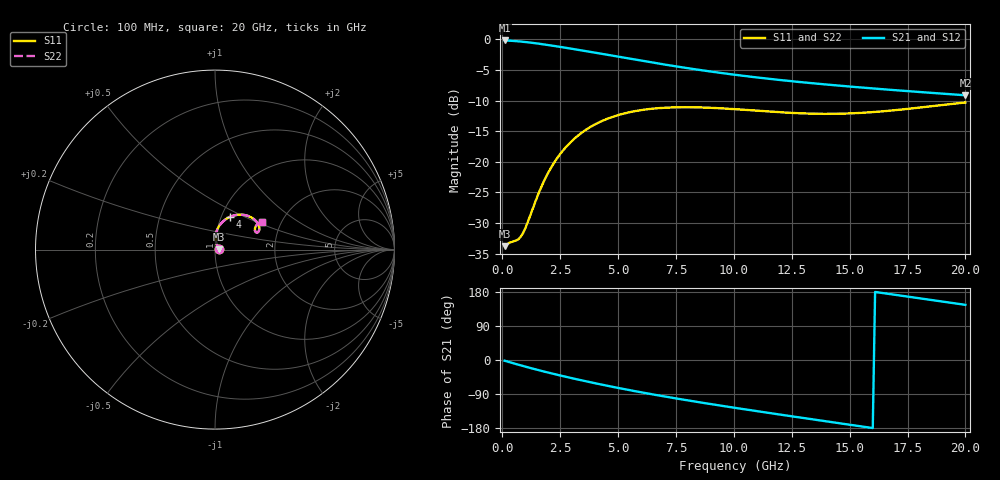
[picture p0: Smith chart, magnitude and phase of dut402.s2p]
! Touchstone file exported from HFSS 2024.1.0
!  File:  C:/UserFiles/LocalFiles/RDL_TSV_Batchsim/temp_RDL_TSV_402_1779711537.aedt
!  Generated:  08:40:23 PM May 25, 2026
!  Design:  RDL_TSV
!  Project:  temp_RDL_TSV_402_1779711537
!  Setup:  Setup1
!  Solution:  Sweep
! Variables:
!  dtsv = 13.79um
!  hbump = 3um
!  htsv = 50.74um
!  ldown = 612.19um
!  lrdl = 363.68um
!  p = 40
!  p1 = 44.45um
!  rhole = 10um
!  subl = 3291.29um
!  t = 450um
!  tdown = 2.95um
!  trdl = 3.06um
!  viad = 10um
!  wdown = 17.96um
!  wrdl = 21.14um
!  xbump = 18um
# GHz S MA R 50.000000
! Terminal data exported
! Port[1] = TM1_1_T1
! Port[2] = TM1_4_T1
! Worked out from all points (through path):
!   200 points, 100 MHz to 20 GHz, reference 50 ohm
!   highest |S21| = -0.18 dB at 100 MHz (marker M1); lowest = -9.1 dB at 20 GHz (marker M2)
!   group delay of S21, straight-line fit = 28.2 ps
!   lowest |S11| = -33.8 dB at 100 MHz (marker M3), VSWR 1.04, Z = 52.1 + j0.286 ohm
!   |S11| at or under -10 dB: start of sweep to end of sweep
!   |S22| runs from -33.8 to -10.3 dB; largest |S21 - S12| = 8.8e-14
!   S11 on the Smith chart (normalised r, x): 100 MHz: 1.04, +0.01; 4 GHz: 1.10, +0.42; 20 GHz: 1.59, +0.55
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0.1  0.02049 7.7  0.9793 -1.9  0.9793 -1.9  0.02049 7.7
! Gamma 0 0 0 0
! Port Impedance 50 0 50 0
0.7  0.02339 44.7  0.9633 -12.5  0.9633 -12.5  0.0234 44.6
0.8  0.0245 52.4  0.9594 -14.2  0.9594 -14.2  0.0245 52.3
1  0.02886 66.9  0.9508 -17.6  0.9508 -17.6  0.02885 66.9
1.7  0.06331 87.3  0.9146 -28.9  0.9146 -28.9  0.06325 87.3
2.1  0.0892 86.6  0.8915 -35.0  0.8915 -35.0  0.0891 86.5
2.4  0.1092 84.1  0.8737 -39.4  0.8737 -39.4  0.1091 84.0
2.7  0.1288 80.9  0.8558 -43.7  0.8558 -43.7  0.1287 80.8
3.1  0.1538 76.1  0.8318 -49.3  0.8318 -49.3  0.1536 76.0
3.5  0.1767 71.1  0.8081 -54.7  0.8081 -54.7  0.1765 71.1
4  0.202 65.1  0.7787 -61.3  0.7787 -61.3  0.2017 65.1
4.6  0.2271 58.3  0.7444 -68.8  0.7444 -68.8  0.2268 58.3
5.3  0.2492 51.1  0.706 -77.2  0.706 -77.2  0.2489 51.1
6.8  0.2748 38.6  0.6319 -94.0  0.6319 -94.0  0.2744 38.6
8.4  0.2786 29.3  0.5668 -110.4  0.5668 -110.4  0.2782 29.3
10.1  0.2687 23.7  0.5122 -126.7  0.5122 -126.7  0.2683 23.7
11.7  0.256 22.1  0.472 -141.4  0.472 -141.4  0.2556 22.0
13.4  0.2472 23.5  0.438 -156.6  0.438 -156.6  0.2468 23.5
15  0.2485 26.6  0.4118 -170.8  0.4118 -170.8  0.2481 26.5
16.7  0.2612 29.7  0.388 174.3  0.388 174.3  0.2608 29.6
18.4  0.2825 31.2  0.3671 159.4  0.3671 159.4  0.282 31.1
20  0.3054 30.8  0.3495 145.5  0.3495 145.5  0.3049 30.7
